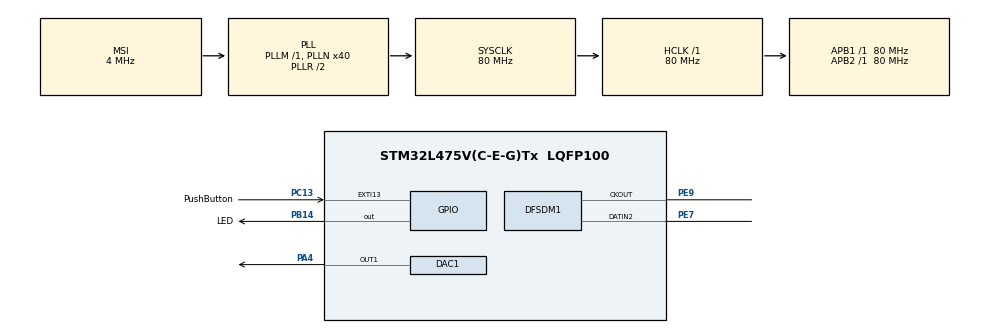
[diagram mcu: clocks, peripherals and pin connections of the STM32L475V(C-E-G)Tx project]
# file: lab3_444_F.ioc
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DAC1.DAC_Trigger-DAC_OUT1=DAC_TRIGGER_T2_TRGO
DFSDM1.Divider=33
DFSDM1.DmaMode_reg_FIL0=ENABLE
DFSDM1.FastMode_reg_FIL0=ENABLE
DFSDM1.FilterOrder_CH2=DFSDM_CHANNEL_FASTSINC_ORDER
DFSDM1.Filter_regChannel_FIL0=DFSDM_CHANNEL_2
DFSDM1.Fosr_FIL0=70
DFSDM1.SincOrder_FIL0=DFSDM_FILTER_SINC3_ORDER
Dma.DAC_CH1.0.Direction=DMA_MEMORY_TO_PERIPH
Dma.DAC_CH1.0.Instance=DMA1_Channel3
Dma.DAC_CH1.0.MemDataAlignment=DMA_MDATAALIGN_WORD
Dma.DAC_CH1.0.MemInc=DMA_MINC_ENABLE
Dma.DAC_CH1.0.Mode=DMA_CIRCULAR
Dma.DAC_CH1.0.PeriphDataAlignment=DMA_PDATAALIGN_HALFWORD
Dma.DAC_CH1.0.PeriphInc=DMA_PINC_DISABLE
Dma.DAC_CH1.0.Priority=DMA_PRIORITY_LOW
Dma.DFSDM1_FLT0.1.Direction=DMA_PERIPH_TO_MEMORY
Dma.DFSDM1_FLT0.1.Instance=DMA1_Channel4
Dma.DFSDM1_FLT0.1.MemDataAlignment=DMA_MDATAALIGN_WORD
Dma.DFSDM1_FLT0.1.MemInc=DMA_MINC_ENABLE
Dma.DFSDM1_FLT0.1.Mode=DMA_NORMAL
Dma.DFSDM1_FLT0.1.PeriphDataAlignment=DMA_PDATAALIGN_WORD
Dma.DFSDM1_FLT0.1.PeriphInc=DMA_PINC_DISABLE
Dma.DFSDM1_FLT0.1.Priority=DMA_PRIORITY_LOW
Dma.Request0=DAC_CH1
Dma.Request1=DFSDM1_FLT0
Mcu.Family=STM32L4
Mcu.Name=STM32L475V(C-E-G)Tx
Mcu.Package=LQFP100
NVIC.DMA1_Channel3_IRQn=true\:0\:0\:false\:false\:true\:false\:true\:true
NVIC.DMA1_Channel4_IRQn=true\:0\:0\:false\:false\:true\:false\:true\:true
NVIC.EXTI15_10_IRQn=true\:0\:0\:false\:false\:true\:true\:true\:true
NVIC.PriorityGroup=NVIC_PRIORITYGROUP_4
NVIC.TIM2_IRQn=true\:0\:0\:false\:false\:true\:true\:true\:true
PA4.Signal=COMP_DAC11_group
PB14.GPIO_Label=LED
PB14.Signal=GPIO_Output
PC13.GPIO_Label=PushButton
PC13.Signal=GPXTI13
PE7.Signal=S_DATAIN2DFSDM1
PE9.Signal=S_CKOUTDFSDM1
ProjectManager.HeapSize=0x200
ProjectManager.StackSize=0x400
ProjectManager.TargetToolchain=STM32CubeIDE
RCC.ADCFreq_Value=48000000
RCC.AHBFreq_Value=80000000
RCC.APB1Freq_Value=80000000
RCC.APB1TimFreq_Value=80000000
RCC.APB2Freq_Value=80000000
RCC.APB2TimFreq_Value=80000000
RCC.CortexFreq_Value=80000000
RCC.HCLKFreq_Value=80000000
RCC.HSE_VALUE=8000000
RCC.HSI_VALUE=16000000
RCC.LSE_VALUE=32768
RCC.MSI_VALUE=4000000
RCC.PLLN=40
RCC.PLLSAI1N=24
RCC.SYSCLKFreq_VALUE=80000000
RCC.SYSCLKSource=RCC_SYSCLKSOURCE_PLLCLK
RCC.USBFreq_Value=48000000
RCC.VCOOutputFreq_Value=160000000
SH.COMP_DAC11_group.0=DAC1_OUT1,DAC_OUT1
SH.S_CKOUTDFSDM1.0=DFSDM1_CKOUT,PDM_SPI_input_from_ch2_and_internal_clock
SH.S_CKOUTDFSDM1.1=DFSDM1_CKOUT,CKOUT
SH.S_DATAIN2DFSDM1.0=DFSDM1_DATIN2,PDM_SPI_input_from_ch2_and_internal_clock
TIM2.Period=1860
TIM2.TIM_MasterOutputTrigger=TIM_TRGO_UPDATE
VP_TIM2_VS_ClockSourceINT.Mode=Internal
board=B-L475E-IOT01A1

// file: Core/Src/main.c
/* USER CODE BEGIN Header */
/**
  ******************************************************************************
  * @file           : main.c
  * @brief          : Main program body
  ******************************************************************************
  * @attention
  *
  * Copyright (c) 2023 STMicroelectronics.
  * All rights reserved.
  *
  * This software is licensed under terms that can be found in the LICENSE file
  * in the root directory of this software component.
  * If no LICENSE file comes with this software, it is provided AS-IS.
  *
  ******************************************************************************
  */
/* USER CODE END Header */
#include "main.h"

DAC_HandleTypeDef hdac1;
DMA_HandleTypeDef hdma_dac_ch1;

DFSDM_Filter_HandleTypeDef hdfsdm1_filter0;
DFSDM_Channel_HandleTypeDef hdfsdm1_channel2;
DMA_HandleTypeDef hdma_dfsdm1_flt0;

TIM_HandleTypeDef htim2;

/* USER CODE BEGIN PV */
////part 3
//#define AUDIO_REC	12000
//int32_t RecBuff[AUDIO_REC];
//uint32_t PlayBuff[AUDIO_REC];

//part 4
#define AUDIO_REC	9000
int32_t RecBuff[AUDIO_REC];
uint32_t PlayBuff[AUDIO_REC];
//
uint8_t pressed = 0;
uint8_t DmaRecHalfBuffCplt = 0;
uint8_t DmaRecBuffCplt = 0;

uint32_t allnotes[256];

/* USER CODE END PV */

void SystemClock_Config(void);
static void MX_GPIO_Init(void);
static void MX_DMA_Init(void);
static void MX_TIM2_Init(void);
static void MX_DAC1_Init(void);
static void MX_DFSDM1_Init(void);
/* USER CODE BEGIN PFP */
////part 1 pushbutton
//void HAL_GPIO_EXTI_Callback(uint16_t GPIO_Pin){
//	if(GPIO_Pin == PushButton_Pin){
//		HAL_GPIO_TogglePin(LED_GPIO_Port, LED_Pin);
//	}
//
//}
////part 1 DAC
//float pi=3.14;
//uint32_t sine[30];
//int counter = 0;
//float sinval =0;
//void get_sine(){
//	for(int i =0; i<30; i++){
//		sine[i] = (1 + arm_sin_f32(2*pi*i/30))*2048;
//	}
//}
//void HAL_TIM_PeriodElapsedCallback(TIM_HandleTypeDef * htim){
//	if(htim == &htim2){
//		if(counter == 30){
//			counter = 0;
//		}
//		HAL_DAC_SetValue(&hdac1, DAC_CHANNEL_1, DAC_ALIGN_12B_R, sine[counter]);
//		counter++;
//	}
//}

/* USER CODE END PFP */

/* USER CODE BEGIN 0 */

  uint32_t C6[42];
  uint32_t E6[34];
  uint32_t G6[28];
  uint32_t A6[25];
  uint32_t B6[22];
  uint32_t B5[45];
  //uint16_t *notes[] = {C6, E6, G6, A6, B6, B5};
  // Initialize each note array
  //sample n = 44.1k/1046.5 = 42
 void get_C6(){
  for(int i =0; i<42; i++){
  	C6[i] = 0.33*i*98;
  	}
  }
 void get_E6(){
  for(int i = 0; i < 34; i++){
  	E6[i] = 0.33*i*120;
  	}
 }
 void get_G6(){
  for(int i = 0; i < 28; i++){
  	G6[i] = 0.33*i*146;
  	}
 }
void get_A6(){
	for(int i = 0; i < 25; i++){
  	A6[i] = 0.33*i*164;
  	}
}

void get_B6(){
  for(int i = 0; i < 22; i++){
  	B6[i] = 0.33*186*i;
  	}
}
void get_B5(){
  for(int i = 0; i < 45; i++){
  	B5[i] = 0.33*i*91;
  	}
}

/* USER CODE END 0 */

int main(void)
{

  /* MCU Configuration--------------------------------------------------------*/

  /* Reset of all peripherals, Initializes the Flash interface and the Systick. */
  HAL_Init();

  /* Configure the system clock */
  SystemClock_Config();

  /* Initialize all configured peripherals */
  MX_GPIO_Init();
  MX_DMA_Init();
  MX_TIM2_Init();
  MX_DAC1_Init();
  MX_DFSDM1_Init();
  /* USER CODE BEGIN 2 */
  HAL_TIM_Base_Start_IT(&htim2);

  get_B5();
  get_C6();
  get_E6();
  get_G6();
  get_A6();
  get_B6();
  //part 4

  //C6 1046.5
  //E6 1318.5 Hz
  //sample n = 44.1k/1318.5 = 34
  //G6 1568.0 Hz
  //sample n = 44.1k/1568 = 28

  //A6 1760.0 Hz
  // sample n = 44.1k/1760 = 25

  //B6 1975.53 Hz
  //sample n = 44.1k/1975.5 = 22

  //B5 987.78 Hz

  ////E6 1318.5 Hz
  ////sample n = 44.1k/1318.5 = 34
  //uint8_t E6[34];

  /* USER CODE END 2 */

  /* Infinite loop */
  while (1)
  {

  }
}

void SystemClock_Config(void)
{
  RCC_OscInitTypeDef RCC_OscInitStruct = {0};
  RCC_ClkInitTypeDef RCC_ClkInitStruct = {0};

  /** Configure the main internal regulator output voltage
  */
  if (HAL_PWREx_ControlVoltageScaling(PWR_REGULATOR_VOLTAGE_SCALE1) != HAL_OK)
  {
    Error_Handler();
  }

  /** Initializes the RCC Oscillators according to the specified parameters
  * in the RCC_OscInitTypeDef structure.
  */
  RCC_OscInitStruct.OscillatorType = RCC_OSCILLATORTYPE_MSI;
  RCC_OscInitStruct.MSIState = RCC_MSI_ON;
  RCC_OscInitStruct.MSICalibrationValue = 0;
  RCC_OscInitStruct.MSIClockRange = RCC_MSIRANGE_6;
  RCC_OscInitStruct.PLL.PLLState = RCC_PLL_ON;
  RCC_OscInitStruct.PLL.PLLSource = RCC_PLLSOURCE_MSI;
  RCC_OscInitStruct.PLL.PLLM = 1;
  RCC_OscInitStruct.PLL.PLLN = 40;
  RCC_OscInitStruct.PLL.PLLP = RCC_PLLP_DIV7;
  RCC_OscInitStruct.PLL.PLLQ = RCC_PLLQ_DIV2;
  RCC_OscInitStruct.PLL.PLLR = RCC_PLLR_DIV2;
  if (HAL_RCC_OscConfig(&RCC_OscInitStruct) != HAL_OK)
  {
    Error_Handler();
  }

  /** Initializes the CPU, AHB and APB buses clocks
  */
  RCC_ClkInitStruct.ClockType = RCC_CLOCKTYPE_HCLK|RCC_CLOCKTYPE_SYSCLK
                              |RCC_CLOCKTYPE_PCLK1|RCC_CLOCKTYPE_PCLK2;
  RCC_ClkInitStruct.SYSCLKSource = RCC_SYSCLKSOURCE_PLLCLK;
  RCC_ClkInitStruct.AHBCLKDivider = RCC_SYSCLK_DIV1;
  RCC_ClkInitStruct.APB1CLKDivider = RCC_HCLK_DIV1;
  RCC_ClkInitStruct.APB2CLKDivider = RCC_HCLK_DIV1;

  if (HAL_RCC_ClockConfig(&RCC_ClkInitStruct, FLASH_LATENCY_4) != HAL_OK)
  {
    Error_Handler();
  }
}

static void MX_DAC1_Init(void)
{

  DAC_ChannelConfTypeDef sConfig = {0};

  /** DAC Initialization
  */
  hdac1.Instance = DAC1;
  if (HAL_DAC_Init(&hdac1) != HAL_OK)
  {
    Error_Handler();
  }

  /** DAC channel OUT1 config
  */
  sConfig.DAC_SampleAndHold = DAC_SAMPLEANDHOLD_DISABLE;
  sConfig.DAC_Trigger = DAC_TRIGGER_T2_TRGO;
  sConfig.DAC_OutputBuffer = DAC_OUTPUTBUFFER_ENABLE;
  sConfig.DAC_ConnectOnChipPeripheral = DAC_CHIPCONNECT_DISABLE;
  sConfig.DAC_UserTrimming = DAC_TRIMMING_FACTORY;
  if (HAL_DAC_ConfigChannel(&hdac1, &sConfig, DAC_CHANNEL_1) != HAL_OK)
  {
    Error_Handler();
  }

}

static void MX_DFSDM1_Init(void)
{

  hdfsdm1_filter0.Instance = DFSDM1_Filter0;
  hdfsdm1_filter0.Init.RegularParam.Trigger = DFSDM_FILTER_SW_TRIGGER;
  hdfsdm1_filter0.Init.RegularParam.FastMode = ENABLE;
  hdfsdm1_filter0.Init.RegularParam.DmaMode = ENABLE;
  hdfsdm1_filter0.Init.FilterParam.SincOrder = DFSDM_FILTER_SINC3_ORDER;
  hdfsdm1_filter0.Init.FilterParam.Oversampling = 70;
  hdfsdm1_filter0.Init.FilterParam.IntOversampling = 1;
  if (HAL_DFSDM_FilterInit(&hdfsdm1_filter0) != HAL_OK)
  {
    Error_Handler();
  }
  hdfsdm1_channel2.Instance = DFSDM1_Channel2;
  hdfsdm1_channel2.Init.OutputClock.Activation = ENABLE;
  hdfsdm1_channel2.Init.OutputClock.Selection = DFSDM_CHANNEL_OUTPUT_CLOCK_SYSTEM;
  hdfsdm1_channel2.Init.OutputClock.Divider = 33;
  hdfsdm1_channel2.Init.Input.Multiplexer = DFSDM_CHANNEL_EXTERNAL_INPUTS;
  hdfsdm1_channel2.Init.Input.DataPacking = DFSDM_CHANNEL_STANDARD_MODE;
  hdfsdm1_channel2.Init.Input.Pins = DFSDM_CHANNEL_SAME_CHANNEL_PINS;
  hdfsdm1_channel2.Init.SerialInterface.Type = DFSDM_CHANNEL_SPI_RISING;
  hdfsdm1_channel2.Init.SerialInterface.SpiClock = DFSDM_CHANNEL_SPI_CLOCK_INTERNAL;
  hdfsdm1_channel2.Init.Awd.FilterOrder = DFSDM_CHANNEL_FASTSINC_ORDER;
  hdfsdm1_channel2.Init.Awd.Oversampling = 1;
  hdfsdm1_channel2.Init.Offset = 0;
  hdfsdm1_channel2.Init.RightBitShift = 0x00;
  if (HAL_DFSDM_ChannelInit(&hdfsdm1_channel2) != HAL_OK)
  {
    Error_Handler();
  }
  if (HAL_DFSDM_FilterConfigRegChannel(&hdfsdm1_filter0, DFSDM_CHANNEL_2, DFSDM_CONTINUOUS_CONV_ON) != HAL_OK)
  {
    Error_Handler();
  }

}

static void MX_TIM2_Init(void)
{

  TIM_ClockConfigTypeDef sClockSourceConfig = {0};
  TIM_MasterConfigTypeDef sMasterConfig = {0};

  htim2.Instance = TIM2;
  htim2.Init.Prescaler = 0;
  htim2.Init.CounterMode = TIM_COUNTERMODE_UP;
  htim2.Init.Period = 1860;
  htim2.Init.ClockDivision = TIM_CLOCKDIVISION_DIV1;
  htim2.Init.AutoReloadPreload = TIM_AUTORELOAD_PRELOAD_DISABLE;
  if (HAL_TIM_Base_Init(&htim2) != HAL_OK)
  {
    Error_Handler();
  }
  sClockSourceConfig.ClockSource = TIM_CLOCKSOURCE_INTERNAL;
  if (HAL_TIM_ConfigClockSource(&htim2, &sClockSourceConfig) != HAL_OK)
  {
    Error_Handler();
  }
  sMasterConfig.MasterOutputTrigger = TIM_TRGO_UPDATE;
  sMasterConfig.MasterSlaveMode = TIM_MASTERSLAVEMODE_DISABLE;
  if (HAL_TIMEx_MasterConfigSynchronization(&htim2, &sMasterConfig) != HAL_OK)
  {
    Error_Handler();
  }

}

static void MX_DMA_Init(void)
{

  /* DMA controller clock enable */
  __HAL_RCC_DMA1_CLK_ENABLE();

  /* DMA interrupt init */
  /* DMA1_Channel3_IRQn interrupt configuration */
  HAL_NVIC_SetPriority(DMA1_Channel3_IRQn, 0, 0);
  HAL_NVIC_EnableIRQ(DMA1_Channel3_IRQn);
  /* DMA1_Channel4_IRQn interrupt configuration */
  HAL_NVIC_SetPriority(DMA1_Channel4_IRQn, 0, 0);
  HAL_NVIC_EnableIRQ(DMA1_Channel4_IRQn);

}

static void MX_GPIO_Init(void)
{
  GPIO_InitTypeDef GPIO_InitStruct = {0};

  /* GPIO Ports Clock Enable */
  __HAL_RCC_GPIOC_CLK_ENABLE();
  __HAL_RCC_GPIOA_CLK_ENABLE();
  __HAL_RCC_GPIOE_CLK_ENABLE();
  __HAL_RCC_GPIOB_CLK_ENABLE();

  /*Configure GPIO pin Output Level */
  HAL_GPIO_WritePin(LED_GPIO_Port, LED_Pin, GPIO_PIN_RESET);

  /*Configure GPIO pin : PushButton_Pin */
  GPIO_InitStruct.Pin = PushButton_Pin;
  GPIO_InitStruct.Mode = GPIO_MODE_IT_RISING;
  GPIO_InitStruct.Pull = GPIO_NOPULL;
  HAL_GPIO_Init(PushButton_GPIO_Port, &GPIO_InitStruct);

  /*Configure GPIO pin : LED_Pin */
  GPIO_InitStruct.Pin = LED_Pin;
  GPIO_InitStruct.Mode = GPIO_MODE_OUTPUT_PP;
  GPIO_InitStruct.Pull = GPIO_NOPULL;
  GPIO_InitStruct.Speed = GPIO_SPEED_FREQ_LOW;
  HAL_GPIO_Init(LED_GPIO_Port, &GPIO_InitStruct);

  /* EXTI interrupt init*/
  HAL_NVIC_SetPriority(EXTI15_10_IRQn, 0, 0);
  HAL_NVIC_EnableIRQ(EXTI15_10_IRQn);

}

/* USER CODE BEGIN 4 */

//part 3

//pressed-->start recording (LED Blink) --> recording over, start playing LED stay on
//Pressed again, start recording

//void HAL_GPIO_EXTI_Callback(uint16_t GPIO_PIN){
//	if(GPIO_PIN == GPIO_PIN_13){
//		if(pressed == 0){
//			//(filter, data, length)
//			HAL_DFSDM_FilterRegularStart_DMA(&hdfsdm1_filter0, RecBuff, AUDIO_REC);

//			pressed = 1;
//		}else{
//			HAL_GPIO_WritePin(LED_GPIO_Port, LED_Pin, GPIO_PIN_RESET);
//			HAL_DAC_Stop_DMA(&hdac1, DAC_CHANNEL_1);
//			for(uint16_t i = 0; i < AUDIO_REC; i++){
//				PlayBuff[i] = 0;
//				RecBuff[i] = 0;
//			}
//			pressed = 0;
//		}
//	}
//}
//
//void HAL_DFSDM_FilterRegConvHalfCpltCallback(DFSDM_Filter_HandleTypeDef *hdfsdm_filter){
//	DmaRecHalfBuffCplt = 1;
//	for(int i = 0; i < AUDIO_REC / 2; i++){
//		PlayBuff[i] = (RecBuff[i] >> 8);
//		HAL_GPIO_TogglePin(LED_GPIO_Port, LED_Pin);
//
//	}
//}
//
//void HAL_DFSDM_FilterRegConvCpltCallback(DFSDM_Filter_HandleTypeDef *hdfsdm_filter){
//	DmaRecBuffCplt = 1;
//	for(int i = AUDIO_REC / 2; i < AUDIO_REC; i++){
//		PlayBuff[i] = (RecBuff[i] >> 8);//shift 8
//		HAL_GPIO_TogglePin(LED_GPIO_Port, LED_Pin);
//
//	}
//		float max = -838809;
//		float min = 838808;
//		for(int i = 0; i < AUDIO_REC; i++){
//		if(PlayBuff[i] > max){
//			max = PlayBuff[i];
//		}
//		if(PlayBuff[i] < min){
//			min = PlayBuff[i];
//			}
//		}
//		for(int i =0; i< AUDIO_REC; i++){
//			PlayBuff[i] = ((PlayBuff[i] - min)/(max-min))*4000;

//		}
//	HAL_DFSDM_FilterRegularStop_DMA(&hdfsdm1_filter0);
//	//recording over. playing start
//
//	HAL_GPIO_WritePin(LED_GPIO_Port, LED_Pin, GPIO_PIN_SET);
//
//	HAL_DAC_Start_DMA(&hdac1, DAC_CHANNEL_1, PlayBuff, AUDIO_REC, DAC_ALIGN_12B_R);
//}

////part 3 end
//part 4 start

void HAL_GPIO_EXTI_Callback(uint16_t GPIO_PIN){
	if(GPIO_PIN == GPIO_PIN_13){
		if(pressed == 0){
			//(filter, data, length)
			//start recording a fixed length
			HAL_DAC_Stop_DMA(&hdac1, DAC_CHANNEL_1);
			//HAL_GPIO_WritePin(LED_GPIO_Port, LED_Pin, GPIO_PIN_SET);
			HAL_DFSDM_FilterRegularStart_DMA(&hdfsdm1_filter0, RecBuff, AUDIO_REC);
			pressed = 1;
		}else if (pressed == 1){
			// Stop any ongoing playback
			HAL_DAC_Stop_DMA(&hdac1, DAC_CHANNEL_1);
			// LED to indicate that playback is starting
			HAL_GPIO_WritePin(LED_GPIO_Port, LED_Pin, GPIO_PIN_RESET);
			HAL_DAC_Start_DMA(&hdac1, DAC_CHANNEL_1, PlayBuff, AUDIO_REC, DAC_ALIGN_12B_R);
			pressed = 2;
		}else if (pressed == 2){
			//C6
			HAL_GPIO_WritePin(LED_GPIO_Port, LED_Pin, GPIO_PIN_SET);
			HAL_DAC_Stop_DMA(&hdac1, DAC_CHANNEL_1);
			HAL_DAC_Start_DMA(&hdac1, DAC_CHANNEL_1, C6, 42, DAC_ALIGN_12B_R);
			pressed = 3;
		}else if (pressed == 3){
			HAL_GPIO_WritePin(LED_GPIO_Port, LED_Pin, GPIO_PIN_RESET);
			HAL_DAC_Stop_DMA(&hdac1, DAC_CHANNEL_1);
		    HAL_DAC_Start_DMA(&hdac1, DAC_CHANNEL_1, E6, 34, DAC_ALIGN_12B_R);
			pressed = 4;
		}else if (pressed == 4){
		   HAL_GPIO_WritePin(LED_GPIO_Port, LED_Pin, GPIO_PIN_SET);
 		   HAL_DAC_Stop_DMA(&hdac1, DAC_CHANNEL_1);
		   HAL_DAC_Start_DMA(&hdac1, DAC_CHANNEL_1, G6, 28, DAC_ALIGN_12B_R);
		   pressed = 5;
		}else if (pressed == 5){
			HAL_GPIO_WritePin(LED_GPIO_Port, LED_Pin, GPIO_PIN_RESET);
		    HAL_DAC_Stop_DMA(&hdac1, DAC_CHANNEL_1);
		    HAL_DAC_Start_DMA(&hdac1, DAC_CHANNEL_1, A6, 25, DAC_ALIGN_12B_R);
			pressed = 6;
		}else if (pressed == 6){
		  HAL_GPIO_WritePin(LED_GPIO_Port, LED_Pin, GPIO_PIN_SET);
		  HAL_DAC_Stop_DMA(&hdac1, DAC_CHANNEL_1);
		  HAL_DAC_Start_DMA(&hdac1, DAC_CHANNEL_1, B6, 22, DAC_ALIGN_12B_R);
		  pressed = 7;
		}else{
		 HAL_GPIO_WritePin(LED_GPIO_Port, LED_Pin, GPIO_PIN_RESET);
		 HAL_DAC_Stop_DMA(&hdac1, DAC_CHANNEL_1);
		 HAL_DAC_Start_DMA(&hdac1, DAC_CHANNEL_1, B5, 45, DAC_ALIGN_12B_R);
		 pressed =0;
		}
	}
}

//void HAL_DFSDM_FilterRegConvHalfCpltCallback(DFSDM_Filter_HandleTypeDef *hdfsdm_filter){
//	DmaRecHalfBuffCplt = 1;
//	for(int i = 0; i < AUDIO_REC / 2; i++){
//		PlayBuff[i] = RecBuff[i]>>8;
//		HAL_GPIO_TogglePin(LED_GPIO_Port, LED_Pin);
//	}
//}

void HAL_DFSDM_FilterRegConvCpltCallback(DFSDM_Filter_HandleTypeDef *hdfsdm_filter){
	DmaRecBuffCplt = 1;
	for(int i = AUDIO_REC; i < AUDIO_REC; i++){
		PlayBuff[i] = RecBuff[i]>>8;
		HAL_GPIO_TogglePin(LED_GPIO_Port, LED_Pin);
	}
	float max = -838809;
				float min = 838808;
				for(int i = 0; i < AUDIO_REC; i++){
					if(PlayBuff[i] > max){
						max = PlayBuff[i];
					}
					if(PlayBuff[i] < min){
						min = PlayBuff[i];
					}
				}
				for(int i =0; i< AUDIO_REC; i++){
					PlayBuff[i] = ((PlayBuff[i] - min)/(max-min))*4000;
				}
}
//part 4 end

/* USER CODE END 4 */

void Error_Handler(void)
{
  __disable_irq();
  while (1)
  {
  }
}
